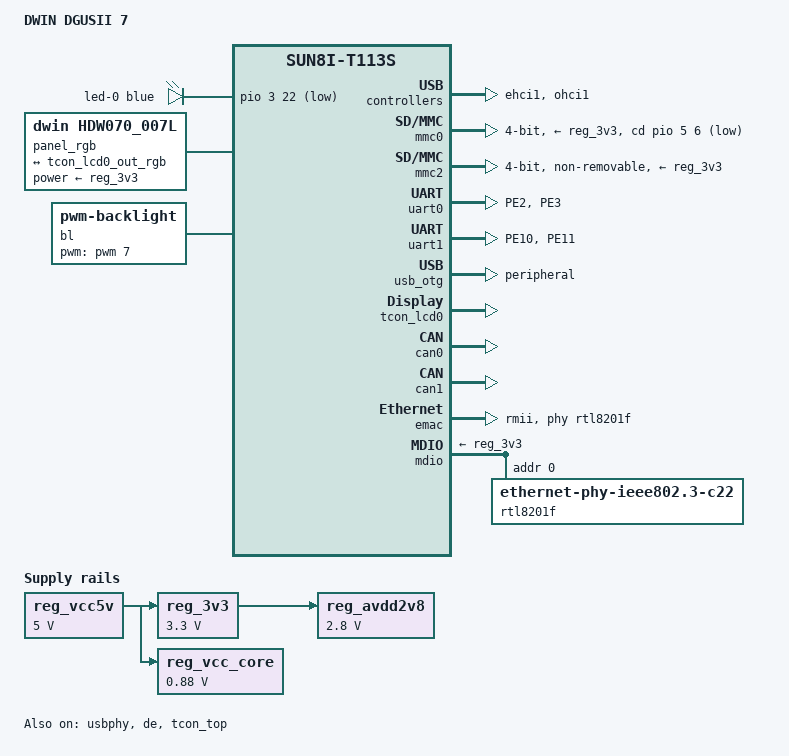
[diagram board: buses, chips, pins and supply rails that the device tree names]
// SPDX-License-Identifier: (GPL-2.0+ OR MIT)
// Copyright (C) 2022 Arm Ltd.

#include <dt-bindings/interrupt-controller/irq.h>

/dts-v1/;

#include "sun8i-t113s.dtsi"

// SPDX-License-Identifier: (GPL-2.0+ OR MIT)
// Copyright (C) 2022 Arm Ltd.

#include <dt-bindings/gpio/gpio.h>
#include <dt-bindings/leds/common.h>

/ {
	model = "DWIN DGUSII 7";
	compatible = "dwin,hmi-t113s", "allwinner,sun8i-t113s";

	aliases {
		serial0 = &uart0;
		serial1 = &uart1;
		serial5 = &uart5;
	};

	chosen {
		stdout-path = "serial0:115200n8";
		bootargs = "debug cma=32M root=/dev/mmcblk0p2 init=/sbin/init console=ttyS0,115200 rootwait clk_ignore_unused random.trust_cpu=on";
	};

	leds {
		compatible = "gpio-leds";

		led-0 {
			color = <LED_COLOR_ID_BLUE>;
			function = LED_FUNCTION_CPU;
			linux,default-trigger = "cpu";
			gpios = <&pio 3 22 GPIO_ACTIVE_LOW>; /* PD22 */
		};
	};

	/* board wide 5V supply directly from the USB-C socket */
	reg_vcc5v: regulator-5v {
		compatible = "regulator-fixed";
		regulator-name = "vcc-5v";
		regulator-min-microvolt = <5000000>;
		regulator-max-microvolt = <5000000>;
		regulator-always-on;
	};

	/* SY8008 DC/DC regulator on the board */
	reg_3v3: regulator-3v3 {
		compatible = "regulator-fixed";
		regulator-name = "vcc-3v3";
		regulator-min-microvolt = <3300000>;
		regulator-max-microvolt = <3300000>;
		vin-supply = <&reg_vcc5v>;
	};

	/* SY8008 DC/DC regulator on the board, also supplying VDD-SYS */
	reg_vcc_core: regulator-core {
		compatible = "regulator-fixed";
		regulator-name = "vcc-core";
		regulator-min-microvolt = <880000>;
		regulator-max-microvolt = <880000>;
		vin-supply = <&reg_vcc5v>;
	};

	/* XC6206 LDO on the board */
	reg_avdd2v8: regulator-avdd {
		compatible = "regulator-fixed";
		regulator-name = "avdd2v8";
		regulator-min-microvolt = <2800000>;
		regulator-max-microvolt = <2800000>;
		vin-supply = <&reg_3v3>;
	};

	panel_rgb: panel-rgb {
		compatible = "dwin,hdw070_007l";
		power-supply = <&reg_3v3>;
		/* backlight = <&bl>; */
		/* enable-gpios = <&gpioi 12 GPIO_ACTIVE_HIGH>; */
		status = "okay";
		port {
			panel_in_rgb: endpoint {
				remote-endpoint = <&tcon_lcd0_out_rgb>;
			};
		};
	};

	bl: backlight {
		compatible = "pwm-backlight";
		pwms = <&pwm 7 100000 0>;
		brightness-levels = <45 46 47 48 49 50 51 52 53 54 55>;
		default-brightness-level = <5>;
	};
};

&dcxo {
	clock-frequency = <24000000>;
};

&cpu0 {
	cpu-supply = <&reg_vcc_core>;
	clock-frequency = <1200000000>;
};

&cpu1 {
	cpu-supply = <&reg_vcc_core>;
	clock-frequency = <1200000000>;
};

&ehci1 {
	status = "okay";
};

&mmc0 {
	pinctrl-0 = <&mmc0_pins>;
	pinctrl-names = "default";
	vmmc-supply = <&reg_3v3>;
	cd-gpios = <&pio 5 6 GPIO_ACTIVE_LOW>;
	disable-wp;
	bus-width = <4>;
	status = "okay";
};

&mmc2 {
	pinctrl-0 = <&mmc2_pins>;
	pinctrl-names = "default";
	vmmc-supply = <&reg_3v3>;
	non-removable;
	bus-width = <4>;
	status = "okay";
};

&ohci1 {
	status = "okay";
};

&pio {
	vcc-pb-supply = <&reg_3v3>;
	vcc-pd-supply = <&reg_3v3>;
	vcc-pe-supply = <&reg_avdd2v8>;
	vcc-pf-supply = <&reg_3v3>;
	vcc-pg-supply = <&reg_3v3>;

	/omit-if-no-ref/
	uart5_pb_pins: uart5-pb-pins {
		pins = "PB4", "PB5";
		function = "uart5";
	};

	/omit-if-no-ref/
	uart0_pe_pins: uart0-pe-pins {
		pins = "PE2", "PE3";
		function = "uart0";
	};

	/omit-if-no-ref/
	uart1_pe_pins: uart1-pe-pins {
		pins = "PE10", "PE11";
		function = "uart1";
	};
};

&uart0 {
	pinctrl-names = "default";
	pinctrl-0 = <&uart0_pe_pins>;
	status = "okay";
};

/* TPS02 which is actually EFM8BB2 connected to this uart */
&uart1 {
	pinctrl-names = "default";
	pinctrl-0 = <&uart1_pe_pins>;
	status = "okay";
};

&uart3 {
	pinctrl-names = "default";
	pinctrl-0 = <&uart3_pb_pins>;
	status = "disabled";
};

/* The USB-C socket has its CC pins pulled to GND, so is hardwired as a UFP. */
&usb_otg {
	dr_mode = "peripheral";
	status = "okay";
};

&usbphy {
	usb1_vbus-supply = <&reg_vcc5v>;
	status = "okay";
};

&de {
	status = "okay";
};

&tcon_top {
	status = "okay";
};

&tcon_lcd0 {
	pinctrl-names = "default";
	pinctrl-0 = <&lcd_rgb666_pins>;

	status = "okay";
};

&tcon_lcd0_out {
	tcon_lcd0_out_rgb: endpoint@0 {
		reg = <0>;
		remote-endpoint = <&panel_in_rgb>;
	};
};

&tcon_tv0 {
	status = "disabled";
};

&can0 {
	status = "okay";
};

&can1 {
	status = "okay";
};

&pwm {
	pinctrl-names = "default";
	pinctrl-0 = <&pwm7_pg_pins>;
	status = "disabled";
};

&emac {
	pinctrl-names = "default";
	pinctrl-0 = <&rmii_pg_pins &mdio_pg_pins>;
	phy-handle = <&rtl8201f>;
	phy-mode = "rmii";
	status = "okay";
};

&mdio {
	phy-supply = <&reg_3v3>;

	rtl8201f: ethernet-phy@0 {
		compatible = "ethernet-phy-ieee802.3-c22";
		reg = <0>;
		pinctrl-names = "default";
		/* pinctrl-0 = <&mac_rst>; */
		reset-assert-us = <20000>;
		reset-deassert-us = <50000>;
		/* reset-gpios = <&gpio0 RK_PA7 GPIO_ACTIVE_LOW>; */
	};
};
